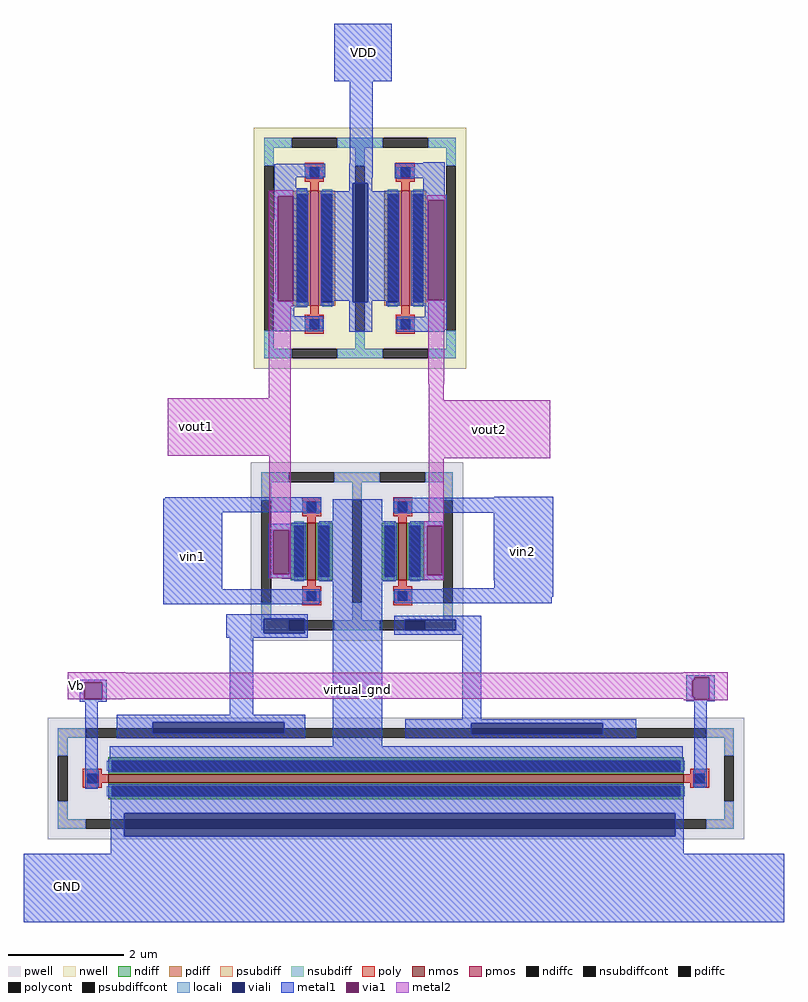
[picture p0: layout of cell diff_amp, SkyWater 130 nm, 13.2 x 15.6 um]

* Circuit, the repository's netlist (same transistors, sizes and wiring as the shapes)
** sch_path: /home/kevin/Documents/Sem8/BTP/AnalogDesign/AnalogChipTrial/xschem/diff_amp.sch
.subckt diff_amp VDD vout1 vout2 vin1 vin2 Vb GND
*.PININFO Vb:I vout2:O vout1:O vin2:I vin1:I GND:B VDD:B GND:B
XM1 virtual_gnd Vb GND GND sky130_fd_pr__nfet_01v8 L=0.15 W=10 nf=1 m=1
XM2 vout1 vout1 VDD VDD sky130_fd_pr__pfet_01v8 L=0.15 W=2 nf=1 m=1
XM3 vout2 vout2 VDD VDD sky130_fd_pr__pfet_01v8 L=0.15 W=2 nf=1 m=1
XM4 vout1 vin1 virtual_gnd GND sky130_fd_pr__nfet_01v8 L=0.15 W=1 nf=1 m=1
XM5 vout2 vin2 virtual_gnd GND sky130_fd_pr__nfet_01v8 L=0.15 W=1 nf=1 m=1
.ends
.end

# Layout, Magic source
magic
tech sky130A
magscale 1 2
<< nwell >>
rect 1128 -216 1180 -214
<< pwell >>
rect 1646 -1362 1698 -1360
rect 1568 -1722 1746 -1686
<< psubdiff >>
rect 1568 -1722 1746 -1686
<< viali >>
rect 1388 -582 1440 -170
rect 1078 -1732 1222 -1682
rect 1568 -1722 1746 -1686
rect 694 -2080 1150 -2042
rect 1800 -2084 2256 -2046
rect 594 -2438 2508 -2358
<< metal1 >>
rect 1324 184 1524 384
rect 1378 -102 1458 184
rect 1632 -100 1708 -96
rect 1124 -104 1292 -102
rect 1116 -148 1292 -104
rect 1376 -148 1458 -102
rect 1116 -186 1192 -148
rect 1376 -170 1456 -148
rect 1534 -152 1708 -100
rect 1116 -214 1230 -186
rect 1376 -198 1388 -170
rect 1116 -296 1128 -214
rect 1118 -550 1128 -296
rect 1108 -580 1128 -550
rect 1182 -580 1230 -214
rect 1282 -578 1388 -198
rect 1108 -600 1230 -580
rect 1376 -582 1388 -578
rect 1440 -198 1456 -170
rect 1440 -578 1544 -198
rect 1632 -210 1708 -152
rect 1600 -228 1714 -210
rect 1600 -576 1650 -228
rect 1706 -576 1714 -228
rect 1440 -582 1456 -578
rect 1108 -632 1184 -600
rect 1108 -682 1286 -632
rect 1118 -684 1286 -682
rect 1376 -686 1456 -582
rect 1600 -586 1714 -576
rect 1638 -634 1714 -586
rect 1540 -678 1714 -634
rect 1540 -686 1708 -678
rect 736 -1266 1278 -1260
rect 1880 -1262 2084 -1258
rect 730 -1312 1278 -1266
rect 730 -1580 934 -1312
rect 1318 -1344 1490 -1268
rect 1530 -1314 2084 -1262
rect 1094 -1354 1196 -1352
rect 1094 -1374 1220 -1354
rect 1094 -1528 1112 -1374
rect 1168 -1528 1220 -1374
rect 1094 -1542 1220 -1528
rect 1142 -1544 1220 -1542
rect 1272 -1552 1538 -1344
rect 1588 -1348 1700 -1344
rect 1588 -1360 1702 -1348
rect 1588 -1532 1646 -1360
rect 1698 -1532 1702 -1360
rect 1588 -1546 1702 -1532
rect 1588 -1548 1700 -1546
rect 1878 -1548 2084 -1314
rect 730 -1632 1272 -1580
rect 948 -1682 1232 -1666
rect 948 -1732 1078 -1682
rect 1222 -1732 1232 -1682
rect 948 -1748 1232 -1732
rect 440 -1902 534 -1894
rect 440 -1962 456 -1902
rect 518 -1962 534 -1902
rect 440 -1970 534 -1962
rect 458 -2272 502 -1970
rect 961 -2015 1043 -1748
rect 569 -2042 1223 -2015
rect 569 -2080 694 -2042
rect 1150 -2080 1223 -2042
rect 569 -2097 1223 -2080
rect 1318 -2126 1490 -1552
rect 1880 -1576 2084 -1548
rect 1698 -1580 2084 -1576
rect 1538 -1606 2084 -1580
rect 1538 -1628 2080 -1606
rect 1532 -1686 1834 -1672
rect 1532 -1722 1568 -1686
rect 1746 -1722 1834 -1686
rect 1532 -1738 1834 -1722
rect 1768 -2031 1834 -1738
rect 2546 -1886 2646 -1878
rect 2546 -1896 2574 -1886
rect 2546 -1954 2568 -1896
rect 2546 -1964 2574 -1954
rect 2626 -1964 2646 -1886
rect 2546 -1968 2646 -1964
rect 1571 -2046 2373 -2031
rect 1571 -2084 1800 -2046
rect 2256 -2084 2373 -2046
rect 1571 -2097 2373 -2084
rect 544 -2214 2534 -2126
rect 1318 -2216 1490 -2214
rect 548 -2358 2538 -2266
rect 2574 -2268 2618 -1968
rect 548 -2438 594 -2358
rect 2508 -2438 2538 -2358
rect 548 -2498 2538 -2438
rect 246 -2736 2886 -2498
<< via1 >>
rect 1128 -580 1182 -214
rect 1650 -576 1706 -228
rect 1112 -1528 1168 -1374
rect 1646 -1532 1698 -1360
rect 456 -1962 518 -1902
rect 2574 -1896 2626 -1886
rect 2568 -1954 2626 -1896
rect 2574 -1964 2626 -1954
<< metal2 >>
rect 1120 -196 1182 -194
rect 1097 -214 1182 -196
rect 1097 -580 1128 -214
rect 1097 -596 1182 -580
rect 1646 -228 1710 -212
rect 1646 -576 1650 -228
rect 1706 -576 1710 -228
rect 1646 -582 1710 -576
rect 1097 -916 1173 -596
rect 1650 -866 1706 -582
rect 746 -1006 1173 -916
rect 1652 -924 1704 -866
rect 746 -1116 1172 -1006
rect 1098 -1374 1172 -1116
rect 1652 -1124 2074 -924
rect 1652 -1344 1704 -1124
rect 1098 -1528 1112 -1374
rect 1168 -1528 1172 -1374
rect 1098 -1542 1172 -1528
rect 1634 -1360 1704 -1344
rect 1634 -1532 1646 -1360
rect 1698 -1532 1704 -1360
rect 1634 -1546 1704 -1532
rect 1652 -1548 1704 -1546
rect 398 -1870 598 -1868
rect 2538 -1870 2690 -1868
rect 398 -1886 2690 -1870
rect 398 -1896 2574 -1886
rect 398 -1902 2568 -1896
rect 398 -1962 456 -1902
rect 518 -1954 2568 -1902
rect 518 -1960 2574 -1954
rect 518 -1962 598 -1960
rect 2538 -1964 2574 -1960
rect 2626 -1964 2690 -1886
rect 2538 -1966 2690 -1964
use sky130_fd_pr__nfet_01v8_6SJULU  XM1
transform 0 1 1538 1 0 -2237
box -211 -1210 211 1210
use sky130_fd_pr__pfet_01v8_XLV5ZZ  XM2
transform 1 0 1255 0 1 -395
box -211 -419 211 419
use sky130_fd_pr__pfet_01v8_XLV5ZZ  XM3
transform 1 0 1571 0 1 -395
box -211 -419 211 419
use sky130_fd_pr__nfet_01v8_V8CAV6  XM4
transform 1 0 1245 0 1 -1448
box -211 -310 211 310
use sky130_fd_pr__nfet_01v8_V8CAV6  XM5
transform 1 0 1561 0 1 -1448
box -211 -310 211 310
<< labels >>
flabel metal1 1878 -1548 2078 -1348 0 FreeSans 256 180 0 0 vin2
port 5 nsew
flabel metal1 1324 184 1524 384 0 FreeSans 256 180 0 0 VDD
port 0 nsew
flabel metal1 298 -2712 498 -2512 0 FreeSans 256 180 0 0 GND
port 7 nsew
flabel metal1 732 -1566 932 -1366 0 FreeSans 256 180 0 0 vin1
port 4 nsew
rlabel metal2 746 -1116 946 -916 1 vout1
port 2 n
rlabel metal2 1652 -1124 2074 -924 1 vout2
port 3 n
rlabel metal2 398 -1962 456 -1868 1 Vb
port 6 n
rlabel metal1 1318 -2216 1490 -1638 1 virtual_gnd
<< end >>

# cell sky130_fd_pr__nfet_01v8_6SJULU: kit device sky130_fd_pr__nfet_01v8, w 10.0 l 0.15 m 1 nf 1 diffcov 100 polycov 100 guard 1 glc 1 grc 1 gtc 1 gbc 1 tbcov 100 rlcov 100 topc 1 botc 1 poverlap 0 doverlap 1 lmin 0.15 wmin 0.42 class mosfet compatible {sky130_fd_pr__nfet_01v8 sky130_fd_pr__nfet_01v8_lvt sky130_fd_bs_flash__special_sonosfet_star sky130_fd_pr__nfet_g5v0d10v5 sky130_fd_pr__nfet_05v0_nvt sky130_fd_pr__nfet_03v3_nvt} full_metal 1 viasrc 100 viadrn 100 viagate 100 viagb 0 viagr 0 viagl 0 viagt 0

# cell sky130_fd_pr__pfet_01v8_XLV5ZZ: kit device sky130_fd_pr__pfet_01v8, w 2.0 l 0.15 m 1 nf 1 diffcov 100 polycov 100 guard 1 glc 1 grc 1 gtc 1 gbc 1 tbcov 100 rlcov 100 topc 1 botc 1 poverlap 0 doverlap 1 lmin 0.15 wmin 0.42 class mosfet compatible {sky130_fd_pr__pfet_01v8 sky130_fd_pr__pfet_01v8_lvt sky130_fd_pr__pfet_01v8_hvt sky130_fd_pr__pfet_g5v0d10v5} full_metal 1 viasrc 100 viadrn 100 viagate 100 viagb 0 viagr 0 viagl 0 viagt 0

# cell sky130_fd_pr__nfet_01v8_V8CAV6: kit device sky130_fd_pr__nfet_01v8, w 1.0 l 0.15 m 1 nf 1 diffcov 100 polycov 100 guard 1 glc 1 grc 1 gtc 1 gbc 1 tbcov 100 rlcov 100 topc 1 botc 1 poverlap 0 doverlap 1 lmin 0.15 wmin 0.42 class mosfet compatible {sky130_fd_pr__nfet_01v8 sky130_fd_pr__nfet_01v8_lvt sky130_fd_bs_flash__special_sonosfet_star sky130_fd_pr__nfet_g5v0d10v5 sky130_fd_pr__nfet_05v0_nvt sky130_fd_pr__nfet_03v3_nvt} full_metal 1 viasrc 100 viadrn 100 viagate 100 viagb 0 viagr 0 viagl 0 viagt 0
